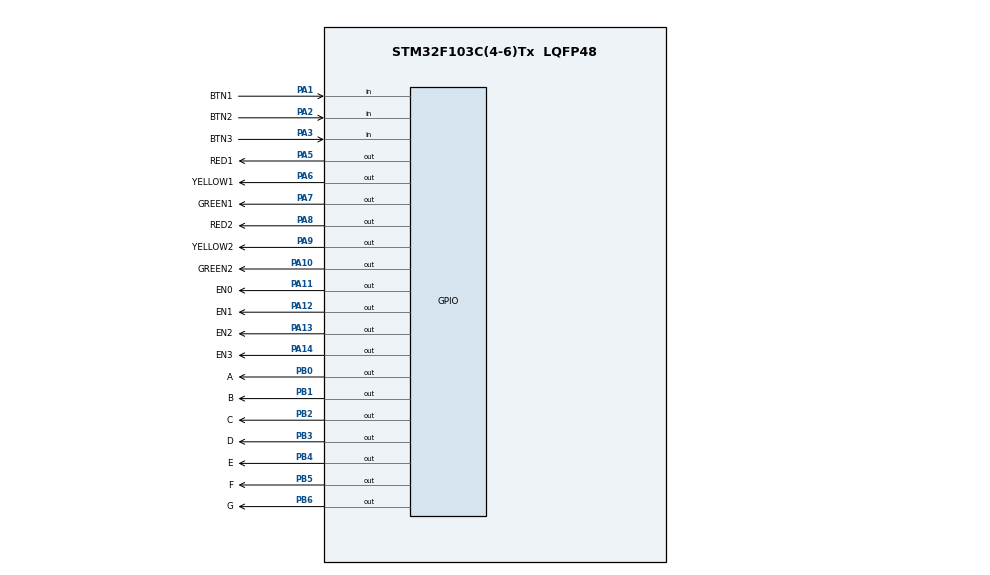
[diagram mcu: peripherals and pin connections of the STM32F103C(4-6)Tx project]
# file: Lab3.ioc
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Mcu.Family=STM32F1
Mcu.Name=STM32F103C(4-6)Tx
Mcu.Package=LQFP48
NVIC.PriorityGroup=NVIC_PRIORITYGROUP_4
NVIC.TIM2_IRQn=true\:0\:0\:false\:false\:true\:true\:true\:true
PA1.GPIO_Label=BTN1
PA1.GPIO_PuPd=GPIO_PULLUP
PA1.Signal=GPIO_Input
PA10.GPIO_Label=GREEN2
PA10.PinState=GPIO_PIN_SET
PA10.Signal=GPIO_Output
PA11.GPIO_Label=EN0
PA11.Signal=GPIO_Output
PA12.GPIO_Label=EN1
PA12.Signal=GPIO_Output
PA13.GPIO_Label=EN2
PA13.Signal=GPIO_Output
PA14.GPIO_Label=EN3
PA14.Signal=GPIO_Output
PA2.GPIO_Label=BTN2
PA2.GPIO_PuPd=GPIO_PULLUP
PA2.Signal=GPIO_Input
PA3.GPIO_Label=BTN3
PA3.GPIO_PuPd=GPIO_PULLUP
PA3.Signal=GPIO_Input
PA5.GPIO_Label=RED1
PA5.PinState=GPIO_PIN_SET
PA5.Signal=GPIO_Output
PA6.GPIO_Label=YELLOW1
PA6.PinState=GPIO_PIN_SET
PA6.Signal=GPIO_Output
PA7.GPIO_Label=GREEN1
PA7.PinState=GPIO_PIN_SET
PA7.Signal=GPIO_Output
PA8.GPIO_Label=RED2
PA8.PinState=GPIO_PIN_SET
PA8.Signal=GPIO_Output
PA9.GPIO_Label=YELLOW2
PA9.PinState=GPIO_PIN_SET
PA9.Signal=GPIO_Output
PB0.GPIO_Label=A
PB0.PinState=GPIO_PIN_SET
PB0.Signal=GPIO_Output
PB1.GPIO_Label=B
PB1.PinState=GPIO_PIN_SET
PB1.Signal=GPIO_Output
PB2.GPIO_Label=C
PB2.PinState=GPIO_PIN_SET
PB2.Signal=GPIO_Output
PB3.GPIO_Label=D
PB3.PinState=GPIO_PIN_SET
PB3.Signal=GPIO_Output
PB4.GPIO_Label=E
PB4.PinState=GPIO_PIN_SET
PB4.Signal=GPIO_Output
PB5.GPIO_Label=F
PB5.PinState=GPIO_PIN_SET
PB5.Signal=GPIO_Output
PB6.GPIO_Label=G
PB6.PinState=GPIO_PIN_SET
PB6.Signal=GPIO_Output
ProjectManager.HeapSize=0x200
ProjectManager.StackSize=0x400
ProjectManager.TargetToolchain=STM32CubeIDE
RCC.APB1Freq_Value=8000000
RCC.APB2Freq_Value=8000000
TIM2.Period=9
TIM2.Prescaler=7999
VP_SYS_VS_ND.Mode=No_Debug
VP_TIM2_VS_ClockSourceINT.Mode=Internal
board=custom

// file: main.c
/* USER CODE BEGIN Header */
/**
  ******************************************************************************
  * @file           : main.c
  * @brief          : Main program body
  ******************************************************************************
  * @attention
  *
  * Copyright (c) 2026 STMicroelectronics.
  * All rights reserved.
  *
  ******************************************************************************
  */
/* USER CODE END Header */
#include "main.h"

/* USER CODE BEGIN Includes */
#include "software_timer.h"
#include "input_reading.h"
#include "led_display.h"
#include "fsm.h"
/* USER CODE END Includes */

TIM_HandleTypeDef htim2;

void SystemClock_Config(void);
static void MX_GPIO_Init(void);
static void MX_TIM2_Init(void);

int main(void)
{

  /* MCU Configuration--------------------------------------------------------*/

  /* Reset of all peripherals, Initializes the Flash interface and the Systick. */
  HAL_Init();

  /* Configure the system clock */
  SystemClock_Config();

  /* Initialize all configured peripherals */
  MX_GPIO_Init();
  MX_TIM2_Init();

  /* USER CODE BEGIN 2 */
  HAL_TIM_Base_Start_IT(&htim2);
  fsm_init();
  setTimer(TIMER_7SEG, 10); /* Start scanning display immediately (10ms cycle) */
  /* USER CODE END 2 */

  /* Infinite loop */
  /* USER CODE BEGIN WHILE */
  while (1)
  {
    if (isTimerExpired(TIMER_7SEG)) {
        static int scan_index = 0;
        update7SEG(scan_index);
        scan_index = (scan_index + 1) % 4;
        setTimer(TIMER_7SEG, 10); /* 10ms per digit gives a flicker-free 100Hz refresh rate */
    }
    fsm_run();
    /* USER CODE END WHILE */

  }
}

void SystemClock_Config(void)
{
  RCC_OscInitTypeDef RCC_OscInitStruct = {0};
  RCC_ClkInitTypeDef RCC_ClkInitStruct = {0};

  RCC_OscInitStruct.OscillatorType = RCC_OSCILLATORTYPE_HSI;
  RCC_OscInitStruct.HSIState = RCC_HSI_ON;
  RCC_OscInitStruct.HSICalibrationValue = RCC_HSICALIBRATION_DEFAULT;
  RCC_OscInitStruct.PLL.PLLState = RCC_PLL_NONE;
  if (HAL_RCC_OscConfig(&RCC_OscInitStruct) != HAL_OK)
  {
    Error_Handler();
  }

  RCC_ClkInitStruct.ClockType = RCC_CLOCKTYPE_HCLK|RCC_CLOCKTYPE_SYSCLK
                              |RCC_CLOCKTYPE_PCLK1|RCC_CLOCKTYPE_PCLK2;
  RCC_ClkInitStruct.SYSCLKSource = RCC_SYSCLKSOURCE_HSI;
  RCC_ClkInitStruct.AHBCLKDivider = RCC_SYSCLK_DIV1;
  RCC_ClkInitStruct.APB1CLKDivider = RCC_HCLK_DIV1;
  RCC_ClkInitStruct.APB2CLKDivider = RCC_HCLK_DIV1;

  if (HAL_RCC_ClockConfig(&RCC_ClkInitStruct, FLASH_LATENCY_0) != HAL_OK)
  {
    Error_Handler();
  }
}

static void MX_TIM2_Init(void)
{
  TIM_ClockConfigTypeDef sClockSourceConfig = {0};
  TIM_MasterConfigTypeDef sMasterConfig = {0};

  htim2.Instance = TIM2;
  htim2.Init.Prescaler = 7999;
  htim2.Init.CounterMode = TIM_COUNTERMODE_UP;
  htim2.Init.Period = 9;
  htim2.Init.ClockDivision = TIM_CLOCKDIVISION_DIV1;
  htim2.Init.AutoReloadPreload = TIM_AUTORELOAD_PRELOAD_DISABLE;
  if (HAL_TIM_Base_Init(&htim2) != HAL_OK)
  {
    Error_Handler();
  }
  sClockSourceConfig.ClockSource = TIM_CLOCKSOURCE_INTERNAL;
  if (HAL_TIM_ConfigClockSource(&htim2, &sClockSourceConfig) != HAL_OK)
  {
    Error_Handler();
  }
  sMasterConfig.MasterOutputTrigger = TIM_TRGO_RESET;
  sMasterConfig.MasterSlaveMode = TIM_MASTERSLAVEMODE_DISABLE;
  if (HAL_TIMEx_MasterConfigSynchronization(&htim2, &sMasterConfig) != HAL_OK)
  {
    Error_Handler();
  }
}

static void MX_GPIO_Init(void)
{
  GPIO_InitTypeDef GPIO_InitStruct = {0};

  /* USER CODE BEGIN MX_GPIO_Init_1 */
  __HAL_RCC_AFIO_CLK_ENABLE();
  __HAL_AFIO_REMAP_SWJ_DISABLE();
  /* USER CODE END MX_GPIO_Init_1 */

  /* GPIO Ports Clock Enable */
  __HAL_RCC_GPIOA_CLK_ENABLE();
  __HAL_RCC_GPIOB_CLK_ENABLE();

  /* Turn OFF all traffic lights initially (Active LOW) */
  HAL_GPIO_WritePin(GPIOA, RED1_Pin|YELLOW1_Pin|GREEN1_Pin|RED2_Pin
                          |YELLOW2_Pin|GREEN2_Pin, GPIO_PIN_SET);

  /* Turn OFF all 7-segment segments initially */
  HAL_GPIO_WritePin(GPIOB, A_Pin|B_Pin|C_Pin|D_Pin
                          |E_Pin|F_Pin|G_Pin, GPIO_PIN_SET);

  /* Turn OFF all PNP transistors initially (PNP Base HIGH = OFF) */
  HAL_GPIO_WritePin(GPIOA, EN0_Pin|EN1_Pin|EN2_Pin|EN3_Pin, GPIO_PIN_SET);

  /* Configure GPIO pins : BTN1_Pin BTN2_Pin BTN3_Pin */
  GPIO_InitStruct.Pin = BTN1_Pin|BTN2_Pin|BTN3_Pin;
  GPIO_InitStruct.Mode = GPIO_MODE_INPUT;
  GPIO_InitStruct.Pull = GPIO_PULLUP;
  HAL_GPIO_Init(GPIOA, &GPIO_InitStruct);

  /* Configure GPIO pins : Traffic LEDs and Enable pins */
  GPIO_InitStruct.Pin = RED1_Pin|YELLOW1_Pin|GREEN1_Pin|RED2_Pin
                          |YELLOW2_Pin|GREEN2_Pin|EN0_Pin|EN1_Pin
                          |EN2_Pin|EN3_Pin;
  GPIO_InitStruct.Mode = GPIO_MODE_OUTPUT_PP;
  GPIO_InitStruct.Pull = GPIO_NOPULL;
  GPIO_InitStruct.Speed = GPIO_SPEED_FREQ_LOW;
  HAL_GPIO_Init(GPIOA, &GPIO_InitStruct);

  /* Configure GPIO pins : 7-segment pins (A..G) */
  GPIO_InitStruct.Pin = A_Pin|B_Pin|C_Pin|D_Pin
                          |E_Pin|F_Pin|G_Pin;
  GPIO_InitStruct.Mode = GPIO_MODE_OUTPUT_PP;
  GPIO_InitStruct.Pull = GPIO_NOPULL;
  GPIO_InitStruct.Speed = GPIO_SPEED_FREQ_LOW;
  HAL_GPIO_Init(GPIOB, &GPIO_InitStruct);

}

/* USER CODE BEGIN 4 */
void HAL_TIM_PeriodElapsedCallback(TIM_HandleTypeDef *htim) {
    if (htim->Instance == TIM2) {
        button_reading();
        timerRun();
    }
}
/* USER CODE END 4 */

void Error_Handler(void)
{
  __disable_irq();
  while (1)
  {
  }
}
